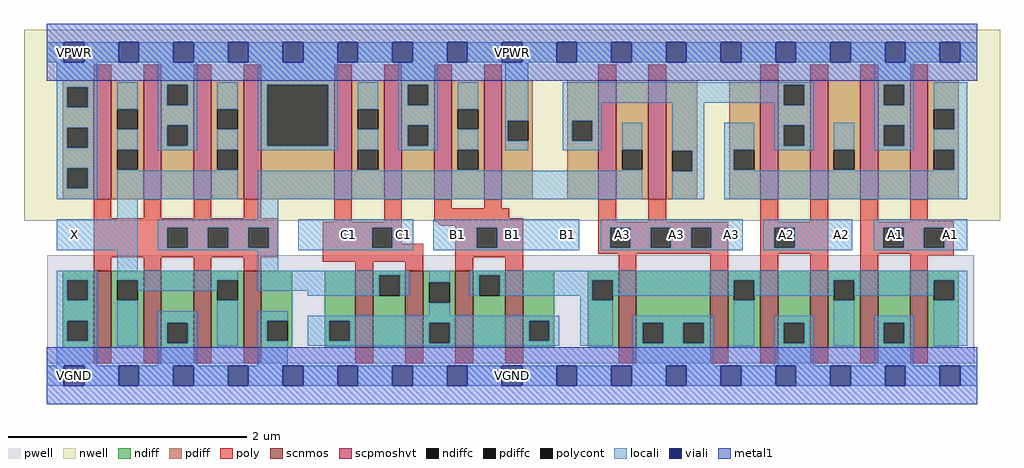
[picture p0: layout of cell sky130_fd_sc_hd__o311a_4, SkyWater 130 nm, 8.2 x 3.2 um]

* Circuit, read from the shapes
.subckt sky130_fd_sc_hd__o311a_4 A1 A2 A3 B1 C1 VGND VNB VPB VPWR X
XM1 X n1 VGND VNB sky130_fd_pr__nfet_01v8 w=0.65 l=0.15 m=4
XM2 n1 C1 n2 VNB sky130_fd_pr__nfet_01v8 w=0.65 l=0.15 m=2
XM3 n3 B1 n2 VNB sky130_fd_pr__nfet_01v8 w=0.65 l=0.15 m=2
XM4 VGND A3 n3 VNB sky130_fd_pr__nfet_01v8 w=0.65 l=0.15 m=2
XM5 VGND A2 n3 VNB sky130_fd_pr__nfet_01v8 w=0.65 l=0.15 m=2
XM6 VGND A1 n3 VNB sky130_fd_pr__nfet_01v8 w=0.65 l=0.15 m=2
XM7 X n1 VPWR VPB sky130_fd_pr__pfet_01v8_hvt w=1 l=0.15 m=4
XM8 n1 C1 VPWR VPB sky130_fd_pr__pfet_01v8_hvt w=1 l=0.15 m=2
XM9 n1 B1 VPWR VPB sky130_fd_pr__pfet_01v8_hvt w=1 l=0.15 m=2
XM10 n1 A3 n4 VPB sky130_fd_pr__pfet_01v8_hvt w=1 l=0.15 m=2
XM11 n4 A2 n5 VPB sky130_fd_pr__pfet_01v8_hvt w=1 l=0.15 m=2
XM12 VPWR A1 n5 VPB sky130_fd_pr__pfet_01v8_hvt w=1 l=0.15 m=2
.ends

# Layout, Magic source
magic
tech sky130A
magscale 1 2
<< nwell >>
rect -38 261 1602 582
<< pwell >>
rect 1 21 1559 203
rect 30 -17 64 21
<< scnmos >>
rect 79 47 109 177
rect 163 47 193 177
rect 247 47 277 177
rect 331 47 361 177
rect 519 47 549 177
rect 603 47 633 177
rect 687 47 717 177
rect 771 47 801 177
rect 961 47 991 177
rect 1115 47 1145 177
rect 1199 47 1229 177
rect 1283 47 1313 177
rect 1367 47 1397 177
rect 1451 47 1481 177
<< scpmoshvt >>
rect 79 297 109 497
rect 163 297 193 497
rect 247 297 277 497
rect 331 297 361 497
rect 483 297 513 497
rect 567 297 597 497
rect 651 297 681 497
rect 735 297 765 497
rect 927 297 957 497
rect 1011 297 1041 497
rect 1199 297 1229 497
rect 1283 297 1313 497
rect 1367 297 1397 497
rect 1451 297 1481 497
<< ndiff >>
rect 27 161 79 177
rect 27 127 35 161
rect 69 127 79 161
rect 27 93 79 127
rect 27 59 35 93
rect 69 59 79 93
rect 27 47 79 59
rect 109 161 163 177
rect 109 127 119 161
rect 153 127 163 161
rect 109 47 163 127
rect 193 89 247 177
rect 193 55 203 89
rect 237 55 247 89
rect 193 47 247 55
rect 277 161 331 177
rect 277 127 287 161
rect 321 127 331 161
rect 277 47 331 127
rect 361 93 413 177
rect 361 59 371 93
rect 405 59 413 93
rect 361 47 413 59
rect 467 93 519 177
rect 467 59 475 93
rect 509 59 519 93
rect 467 47 519 59
rect 549 169 603 177
rect 549 135 559 169
rect 593 135 603 169
rect 549 47 603 135
rect 633 157 687 177
rect 633 123 643 157
rect 677 123 687 157
rect 633 89 687 123
rect 633 55 643 89
rect 677 55 687 89
rect 633 47 687 55
rect 717 169 771 177
rect 717 135 727 169
rect 761 135 771 169
rect 717 47 771 135
rect 801 93 853 177
rect 801 59 811 93
rect 845 59 853 93
rect 801 47 853 59
rect 909 161 961 177
rect 909 127 917 161
rect 951 127 961 161
rect 909 47 961 127
rect 991 89 1115 177
rect 991 55 1002 89
rect 1036 55 1070 89
rect 1104 55 1115 89
rect 991 47 1115 55
rect 1145 161 1199 177
rect 1145 127 1155 161
rect 1189 127 1199 161
rect 1145 47 1199 127
rect 1229 89 1283 177
rect 1229 55 1239 89
rect 1273 55 1283 89
rect 1229 47 1283 55
rect 1313 161 1367 177
rect 1313 127 1323 161
rect 1357 127 1367 161
rect 1313 47 1367 127
rect 1397 89 1451 177
rect 1397 55 1407 89
rect 1441 55 1451 89
rect 1397 47 1451 55
rect 1481 161 1533 177
rect 1481 127 1491 161
rect 1525 127 1533 161
rect 1481 47 1533 127
<< pdiff >>
rect 27 485 79 497
rect 27 451 35 485
rect 69 451 79 485
rect 27 417 79 451
rect 27 383 35 417
rect 69 383 79 417
rect 27 349 79 383
rect 27 315 35 349
rect 69 315 79 349
rect 27 297 79 315
rect 109 448 163 497
rect 109 414 119 448
rect 153 414 163 448
rect 109 380 163 414
rect 109 346 119 380
rect 153 346 163 380
rect 109 297 163 346
rect 193 489 247 497
rect 193 455 203 489
rect 237 455 247 489
rect 193 421 247 455
rect 193 387 203 421
rect 237 387 247 421
rect 193 297 247 387
rect 277 448 331 497
rect 277 414 287 448
rect 321 414 331 448
rect 277 380 331 414
rect 277 346 287 380
rect 321 346 331 380
rect 277 297 331 346
rect 361 489 483 497
rect 361 387 371 489
rect 473 387 483 489
rect 361 297 483 387
rect 513 448 567 497
rect 513 414 523 448
rect 557 414 567 448
rect 513 380 567 414
rect 513 346 523 380
rect 557 346 567 380
rect 513 297 567 346
rect 597 489 651 497
rect 597 455 607 489
rect 641 455 651 489
rect 597 421 651 455
rect 597 387 607 421
rect 641 387 651 421
rect 597 297 651 387
rect 681 448 735 497
rect 681 414 691 448
rect 725 414 735 448
rect 681 380 735 414
rect 681 346 691 380
rect 725 346 735 380
rect 681 297 735 346
rect 765 429 817 497
rect 765 395 775 429
rect 809 395 817 429
rect 765 297 817 395
rect 875 429 927 497
rect 875 395 883 429
rect 917 395 927 429
rect 875 297 927 395
rect 957 380 1011 497
rect 957 346 967 380
rect 1001 346 1011 380
rect 957 297 1011 346
rect 1041 378 1093 497
rect 1041 344 1051 378
rect 1085 344 1093 378
rect 1041 297 1093 344
rect 1147 380 1199 497
rect 1147 346 1155 380
rect 1189 346 1199 380
rect 1147 297 1199 346
rect 1229 489 1283 497
rect 1229 455 1239 489
rect 1273 455 1283 489
rect 1229 421 1283 455
rect 1229 387 1239 421
rect 1273 387 1283 421
rect 1229 297 1283 387
rect 1313 380 1367 497
rect 1313 346 1323 380
rect 1357 346 1367 380
rect 1313 297 1367 346
rect 1397 489 1451 497
rect 1397 455 1407 489
rect 1441 455 1451 489
rect 1397 421 1451 455
rect 1397 387 1407 421
rect 1441 387 1451 421
rect 1397 297 1451 387
rect 1481 448 1533 497
rect 1481 414 1491 448
rect 1525 414 1533 448
rect 1481 380 1533 414
rect 1481 346 1491 380
rect 1525 346 1533 380
rect 1481 297 1533 346
<< ndiffc >>
rect 35 127 69 161
rect 35 59 69 93
rect 119 127 153 161
rect 203 55 237 89
rect 287 127 321 161
rect 371 59 405 93
rect 475 59 509 93
rect 559 135 593 169
rect 643 123 677 157
rect 643 55 677 89
rect 727 135 761 169
rect 811 59 845 93
rect 917 127 951 161
rect 1002 55 1036 89
rect 1070 55 1104 89
rect 1155 127 1189 161
rect 1239 55 1273 89
rect 1323 127 1357 161
rect 1407 55 1441 89
rect 1491 127 1525 161
<< pdiffc >>
rect 35 451 69 485
rect 35 383 69 417
rect 35 315 69 349
rect 119 414 153 448
rect 119 346 153 380
rect 203 455 237 489
rect 203 387 237 421
rect 287 414 321 448
rect 287 346 321 380
rect 371 387 473 489
rect 523 414 557 448
rect 523 346 557 380
rect 607 455 641 489
rect 607 387 641 421
rect 691 414 725 448
rect 691 346 725 380
rect 775 395 809 429
rect 883 395 917 429
rect 967 346 1001 380
rect 1051 344 1085 378
rect 1155 346 1189 380
rect 1239 455 1273 489
rect 1239 387 1273 421
rect 1323 346 1357 380
rect 1407 455 1441 489
rect 1407 387 1441 421
rect 1491 414 1525 448
rect 1491 346 1525 380
<< poly >>
rect 79 497 109 523
rect 163 497 193 523
rect 247 497 277 523
rect 331 497 361 523
rect 483 497 513 523
rect 567 497 597 523
rect 651 497 681 523
rect 735 497 765 523
rect 927 497 957 523
rect 1011 497 1041 523
rect 1199 497 1229 523
rect 1283 497 1313 523
rect 1367 497 1397 523
rect 1451 497 1481 523
rect 79 265 109 297
rect 163 265 193 297
rect 247 265 277 297
rect 331 265 361 297
rect 79 249 389 265
rect 483 259 513 297
rect 567 259 597 297
rect 651 282 681 297
rect 735 282 765 297
rect 651 265 777 282
rect 651 260 801 265
rect 653 259 801 260
rect 79 215 203 249
rect 237 215 271 249
rect 305 215 339 249
rect 373 215 389 249
rect 79 199 389 215
rect 464 249 597 259
rect 655 258 801 259
rect 657 257 801 258
rect 658 256 801 257
rect 659 255 801 256
rect 661 254 801 255
rect 662 253 801 254
rect 663 252 801 253
rect 464 215 547 249
rect 581 222 597 249
rect 687 249 801 252
rect 581 215 633 222
rect 79 177 109 199
rect 163 177 193 199
rect 247 177 277 199
rect 331 177 361 199
rect 464 192 633 215
rect 519 177 549 192
rect 603 177 633 192
rect 687 215 723 249
rect 757 215 801 249
rect 687 199 801 215
rect 927 259 957 297
rect 1011 259 1041 297
rect 1199 259 1229 297
rect 1283 259 1313 297
rect 927 249 1145 259
rect 927 215 947 249
rect 981 215 1015 249
rect 1049 215 1083 249
rect 1117 215 1145 249
rect 927 205 1145 215
rect 687 177 717 199
rect 771 177 801 199
rect 961 177 991 205
rect 1115 177 1145 205
rect 1199 249 1313 259
rect 1199 215 1223 249
rect 1257 215 1313 249
rect 1199 205 1313 215
rect 1199 177 1229 205
rect 1283 177 1313 205
rect 1367 259 1397 297
rect 1451 261 1481 297
rect 1451 259 1524 261
rect 1367 249 1524 259
rect 1367 215 1406 249
rect 1440 215 1474 249
rect 1508 215 1524 249
rect 1367 205 1524 215
rect 1367 177 1397 205
rect 1451 203 1524 205
rect 1451 177 1481 203
rect 79 21 109 47
rect 163 21 193 47
rect 247 21 277 47
rect 331 21 361 47
rect 519 21 549 47
rect 603 21 633 47
rect 687 21 717 47
rect 771 21 801 47
rect 961 21 991 47
rect 1115 21 1145 47
rect 1199 21 1229 47
rect 1283 21 1313 47
rect 1367 21 1397 47
rect 1451 21 1481 47
<< polycont >>
rect 203 215 237 249
rect 271 215 305 249
rect 339 215 373 249
rect 547 215 581 249
rect 723 215 757 249
rect 947 215 981 249
rect 1015 215 1049 249
rect 1083 215 1117 249
rect 1223 215 1257 249
rect 1406 215 1440 249
rect 1474 215 1508 249
<< locali >>
rect 0 527 29 561
rect 63 527 121 561
rect 155 527 213 561
rect 247 527 305 561
rect 339 527 397 561
rect 431 527 489 561
rect 523 527 581 561
rect 615 527 673 561
rect 707 527 765 561
rect 799 527 857 561
rect 891 527 949 561
rect 983 527 1041 561
rect 1075 527 1133 561
rect 1167 527 1225 561
rect 1259 527 1317 561
rect 1351 527 1409 561
rect 1443 527 1501 561
rect 1535 527 1564 561
rect 17 485 85 527
rect 17 451 35 485
rect 69 451 85 485
rect 17 417 85 451
rect 17 383 35 417
rect 69 383 85 417
rect 17 349 85 383
rect 17 315 35 349
rect 69 315 85 349
rect 17 297 85 315
rect 119 448 153 493
rect 119 380 153 414
rect 187 489 253 527
rect 187 455 203 489
rect 237 455 253 489
rect 187 421 253 455
rect 187 387 203 421
rect 237 387 253 421
rect 187 379 253 387
rect 287 448 321 493
rect 287 380 321 414
rect 119 345 153 346
rect 355 489 489 527
rect 355 387 371 489
rect 473 387 489 489
rect 355 379 489 387
rect 523 448 557 493
rect 523 380 557 414
rect 287 345 321 346
rect 591 489 657 527
rect 591 455 607 489
rect 641 455 657 489
rect 591 421 657 455
rect 591 387 607 421
rect 641 387 657 421
rect 591 379 657 387
rect 691 448 725 493
rect 691 380 725 414
rect 523 345 557 346
rect 771 429 809 527
rect 771 395 775 429
rect 771 379 809 395
rect 867 489 1289 493
rect 867 459 1239 489
rect 867 429 933 459
rect 867 395 883 429
rect 917 395 933 429
rect 867 379 933 395
rect 967 380 1001 425
rect 691 345 725 346
rect 967 345 1001 346
rect 119 297 321 345
rect 355 297 1001 345
rect 1051 378 1105 459
rect 1223 455 1239 459
rect 1273 455 1289 489
rect 1085 344 1105 378
rect 1051 297 1105 344
rect 1139 380 1189 425
rect 1139 346 1155 380
rect 1223 421 1289 455
rect 1391 489 1457 527
rect 1391 455 1407 489
rect 1441 455 1457 489
rect 1223 387 1239 421
rect 1273 387 1289 421
rect 1223 379 1289 387
rect 1323 380 1357 425
rect 1139 345 1189 346
rect 1391 421 1457 455
rect 1391 387 1407 421
rect 1441 387 1457 421
rect 1391 379 1457 387
rect 1491 448 1547 493
rect 1525 414 1547 448
rect 1491 380 1547 414
rect 1323 345 1357 346
rect 1525 346 1547 380
rect 1491 345 1547 346
rect 1139 297 1547 345
rect 119 263 153 297
rect 355 263 389 297
rect 17 211 153 263
rect 187 249 389 263
rect 187 215 203 249
rect 237 215 271 249
rect 305 215 339 249
rect 373 215 389 249
rect 187 211 389 215
rect 423 249 616 263
rect 423 215 547 249
rect 581 215 616 249
rect 423 211 616 215
rect 650 249 895 263
rect 650 215 723 249
rect 757 215 895 249
rect 650 211 895 215
rect 931 249 1170 263
rect 931 215 947 249
rect 981 215 1015 249
rect 1049 215 1083 249
rect 1117 215 1170 249
rect 931 211 1170 215
rect 1204 249 1354 263
rect 1204 215 1223 249
rect 1257 215 1354 249
rect 1204 211 1354 215
rect 1390 249 1547 263
rect 1390 215 1406 249
rect 1440 215 1474 249
rect 1508 215 1547 249
rect 1390 211 1547 215
rect 119 177 153 211
rect 355 177 389 211
rect 17 161 85 177
rect 17 127 35 161
rect 69 127 85 161
rect 17 93 85 127
rect 17 59 35 93
rect 69 59 85 93
rect 17 17 85 59
rect 119 161 321 177
rect 153 143 287 161
rect 119 51 153 127
rect 355 169 609 177
rect 355 143 559 169
rect 439 135 559 143
rect 593 135 609 169
rect 643 157 677 177
rect 187 89 253 109
rect 187 55 203 89
rect 237 55 253 89
rect 187 17 253 55
rect 287 51 321 127
rect 711 169 1547 177
rect 711 135 727 169
rect 761 161 1547 169
rect 761 135 917 161
rect 355 93 405 109
rect 643 101 677 123
rect 897 127 917 135
rect 951 135 1155 161
rect 355 59 371 93
rect 355 17 405 59
rect 439 93 861 101
rect 439 59 475 93
rect 509 89 811 93
rect 509 59 643 89
rect 439 55 643 59
rect 677 59 811 89
rect 845 59 861 93
rect 677 55 861 59
rect 439 51 861 55
rect 897 51 951 127
rect 1189 135 1323 161
rect 985 89 1121 101
rect 985 55 1002 89
rect 1036 55 1070 89
rect 1104 55 1121 89
rect 985 17 1121 55
rect 1155 51 1189 127
rect 1357 135 1491 161
rect 1223 89 1289 101
rect 1223 55 1239 89
rect 1273 55 1289 89
rect 1223 17 1289 55
rect 1323 51 1357 127
rect 1525 127 1547 161
rect 1391 89 1457 101
rect 1391 55 1407 89
rect 1441 55 1457 89
rect 1391 17 1457 55
rect 1491 51 1547 127
rect 0 -17 29 17
rect 63 -17 121 17
rect 155 -17 213 17
rect 247 -17 305 17
rect 339 -17 397 17
rect 431 -17 489 17
rect 523 -17 581 17
rect 615 -17 673 17
rect 707 -17 765 17
rect 799 -17 857 17
rect 891 -17 949 17
rect 983 -17 1041 17
rect 1075 -17 1133 17
rect 1167 -17 1225 17
rect 1259 -17 1317 17
rect 1351 -17 1409 17
rect 1443 -17 1501 17
rect 1535 -17 1564 17
<< viali >>
rect 29 527 63 561
rect 121 527 155 561
rect 213 527 247 561
rect 305 527 339 561
rect 397 527 431 561
rect 489 527 523 561
rect 581 527 615 561
rect 673 527 707 561
rect 765 527 799 561
rect 857 527 891 561
rect 949 527 983 561
rect 1041 527 1075 561
rect 1133 527 1167 561
rect 1225 527 1259 561
rect 1317 527 1351 561
rect 1409 527 1443 561
rect 1501 527 1535 561
rect 29 -17 63 17
rect 121 -17 155 17
rect 213 -17 247 17
rect 305 -17 339 17
rect 397 -17 431 17
rect 489 -17 523 17
rect 581 -17 615 17
rect 673 -17 707 17
rect 765 -17 799 17
rect 857 -17 891 17
rect 949 -17 983 17
rect 1041 -17 1075 17
rect 1133 -17 1167 17
rect 1225 -17 1259 17
rect 1317 -17 1351 17
rect 1409 -17 1443 17
rect 1501 -17 1535 17
<< metal1 >>
rect 0 561 1564 592
rect 0 527 29 561
rect 63 527 121 561
rect 155 527 213 561
rect 247 527 305 561
rect 339 527 397 561
rect 431 527 489 561
rect 523 527 581 561
rect 615 527 673 561
rect 707 527 765 561
rect 799 527 857 561
rect 891 527 949 561
rect 983 527 1041 561
rect 1075 527 1133 561
rect 1167 527 1225 561
rect 1259 527 1317 561
rect 1351 527 1409 561
rect 1443 527 1501 561
rect 1535 527 1564 561
rect 0 496 1564 527
rect 0 17 1564 48
rect 0 -17 29 17
rect 63 -17 121 17
rect 155 -17 213 17
rect 247 -17 305 17
rect 339 -17 397 17
rect 431 -17 489 17
rect 523 -17 581 17
rect 615 -17 673 17
rect 707 -17 765 17
rect 799 -17 857 17
rect 891 -17 949 17
rect 983 -17 1041 17
rect 1075 -17 1133 17
rect 1167 -17 1225 17
rect 1259 -17 1317 17
rect 1351 -17 1409 17
rect 1443 -17 1501 17
rect 1535 -17 1564 17
rect 0 -48 1564 -17
<< labels >>
flabel locali s 1502 221 1536 255 0 FreeSans 200 0 0 0 A1
port 1 nsew signal input
flabel locali s 1410 221 1444 255 0 FreeSans 200 0 0 0 A1
port 1 nsew signal input
flabel locali s 1318 221 1352 255 0 FreeSans 200 0 0 0 A2
port 2 nsew signal input
flabel locali s 1134 221 1168 255 0 FreeSans 200 0 0 0 A3
port 3 nsew signal input
flabel locali s 1042 221 1076 255 0 FreeSans 200 0 0 0 A3
port 3 nsew signal input
flabel locali s 950 221 984 255 0 FreeSans 200 0 0 0 A3
port 3 nsew signal input
flabel locali s 858 221 892 255 0 FreeSans 200 0 0 0 B1
port 4 nsew signal input
flabel locali s 766 221 800 255 0 FreeSans 200 0 0 0 B1
port 4 nsew signal input
flabel locali s 674 221 708 255 0 FreeSans 200 0 0 0 B1
port 4 nsew signal input
flabel locali s 582 221 616 255 0 FreeSans 200 0 0 0 C1
port 5 nsew signal input
flabel locali s 490 221 524 255 0 FreeSans 200 0 0 0 C1
port 5 nsew signal input
flabel locali s 30 221 64 255 0 FreeSans 200 0 0 0 X
port 10 nsew signal output
flabel locali s 1226 221 1260 255 0 FreeSans 200 0 0 0 A2
port 2 nsew signal input
flabel metal1 s 30 527 64 561 0 FreeSans 200 0 0 0 VPWR
port 9 nsew power bidirectional abutment
flabel metal1 s 30 -17 64 17 0 FreeSans 200 0 0 0 VGND
port 6 nsew ground bidirectional abutment
flabel nwell s 30 527 64 561 0 FreeSans 200 0 0 0 VPB
port 8 nsew power bidirectional
flabel pwell s 30 -17 64 17 0 FreeSans 200 0 0 0 VNB
port 7 nsew ground bidirectional
rlabel comment s 0 0 0 0 4 o311a_4
rlabel metal1 s 0 -48 1564 48 1 VGND
port 6 nsew ground bidirectional abutment
rlabel metal1 s 0 496 1564 592 1 VPWR
port 9 nsew power bidirectional abutment
<< properties >>
string FIXED_BBOX 0 0 1564 544
string GDS_END 928926
string GDS_FILE $PDKPATH/libs.ref/sky130_fd_sc_hd/gds/sky130_fd_sc_hd.gds
string GDS_START 916634
string LEFclass CORE
string LEFsite unithd
string LEFsymmetry X Y R90
string path 0.000 0.000 7.820 0.000 
<< end >>
